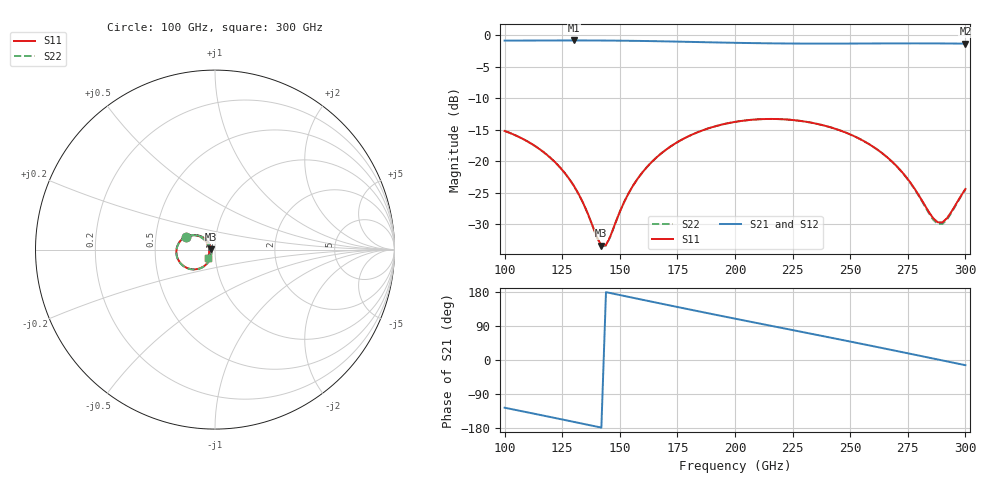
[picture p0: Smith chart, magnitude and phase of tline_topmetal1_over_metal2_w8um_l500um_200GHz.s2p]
#  GHZ S DB R 50
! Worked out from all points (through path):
!   101 points, 100 GHz to 300 GHz, reference 50 ohm
!   highest |S21| = -0.85 dB at 130 GHz (marker M1); lowest = -1.4 dB at 300 GHz (marker M2)
!   group delay of S21, straight-line fit = 3.43 ps
!   lowest |S11| = -33.4 dB at 142 GHz (marker M3), VSWR 1.04, Z = 47.9 + j0.135 ohm
!   |S11| at or under -10 dB: start of sweep to end of sweep
!   |S22| runs from -33.5 to -13.3 dB; largest |S21 - S12| = 9.9e-14
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100  -15.21 156.3  -0.87 -125.9  -0.87 -125.9  -15.20 156.5
118  -18.88 138.0  -0.86 -148.2  -0.86 -148.2  -18.88 138.2
124  -20.97 133.6  -0.86 -155.7  -0.86 -155.7  -20.97 133.7
130  -23.88 131.7  -0.85 -163.2  -0.85 -163.2  -23.88 131.8
134  -26.56 134.2  -0.86 -168.3  -0.86 -168.3  -26.57 134.2
142  -33.39 176.2  -0.87 -178.4  -0.87 -178.4  -33.48 176.3
144  -33.30 -160.6  -0.87 179.0  -0.87 179.0  -33.40 -160.2
152  -26.38 -120.5  -0.90 168.9  -0.90 168.9  -26.41 -119.9
156  -23.73 -118.3  -0.92 163.8  -0.92 163.8  -23.74 -117.7
162  -20.84 -120.1  -0.95 156.2  -0.95 156.2  -20.84 -119.6
168  -18.76 -124.5  -0.99 148.7  -0.99 148.7  -18.76 -124.0
182  -15.68 -138.0  -1.09 131.2  -1.09 131.2  -15.68 -137.5
200  -13.77 -157.2  -1.23 109.1  -1.23 109.1  -13.77 -156.7
216  -13.31 -174.3  -1.31 89.8  -1.31 89.8  -13.30 -173.8
234  -13.96 166.8  -1.35 68.1  -1.35 68.1  -13.96 167.2
252  -16.09 149.2  -1.34 46.2  -1.34 46.2  -16.09 149.6
268  -20.01 137.8  -1.32 26.4  -1.32 26.4  -20.04 138.1
276  -23.34 137.9  -1.32 16.5  -1.32 16.5  -23.40 138.0
286  -29.04 164.3  -1.32 3.9  -1.32 3.9  -29.27 164.6
288  -29.70 177.1  -1.33 1.4  -1.33 1.4  -29.96 177.9
292  -29.05 -156.0  -1.33 -3.7  -1.33 -3.7  -29.27 -154.3
300  -24.41 -131.2  -1.36 -13.7  -1.36 -13.7  -24.46 -129.4
